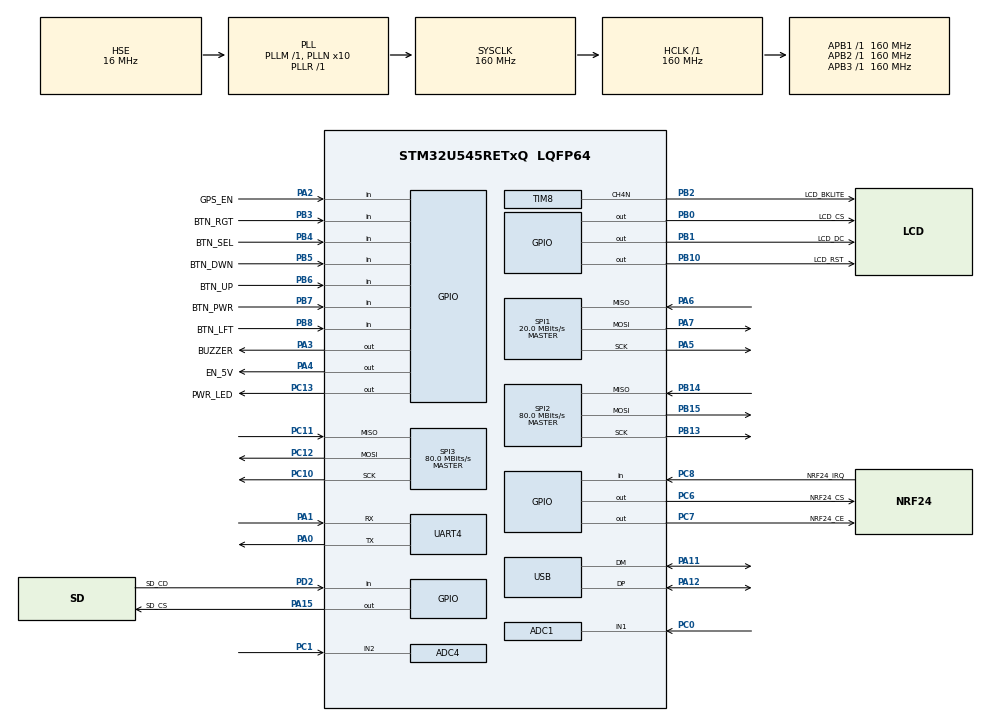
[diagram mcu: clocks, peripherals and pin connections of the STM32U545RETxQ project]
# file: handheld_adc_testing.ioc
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ADC1.Channel-6\#ChannelRegularConversion=ADC_CHANNEL_1
ADC1.ClockPrescaler=ADC_CLOCK_ASYNC_DIV4
ADC1.EnableAnalogWatchDog1=false
ADC1.MonitoredBy-6\#ChannelRegularConversion=__NULL
ADC1.NbrOfConversionFlag=1
ADC1.OffsetNumber-6\#ChannelRegularConversion=ADC_OFFSET_NONE
ADC1.Rank-6\#ChannelRegularConversion=1
ADC1.SamplingTime-6\#ChannelRegularConversion=ADC_SAMPLETIME_20CYCLES
ADC1.TriggerFrequencyMode=ADC_TRIGGER_FREQ_HIGH
ADC1.master=1
ADC4.Channel-0\#ChannelRegularConversion=ADC_CHANNEL_2
ADC4.ClockPrescaler=ADC_CLOCK_ASYNC_DIV4
ADC4.NbrOfConversionFlag=1
ADC4.OffsetNumber-0\#ChannelRegularConversion=ADC_OFFSET_NONE
ADC4.Rank-0\#ChannelRegularConversion=1
ADC4.RankArg-0\#ChannelRegularConversion=ADC4_REGULAR_RANK_1
ADC4.SamplingTime-0\#ChannelRegularConversion=ADC4_SAMPLINGTIME_COMMON_1
ADC4.SelectedChannel=ADC_CHANNEL_2
CORTEX_M33_NS.userName=CORTEX_M33
GPDMA1.DATAHANDLING_GPDMACH0=NONE
GPDMA1.DESTBURSTLENGTH_GPDMACH0=1
GPDMA1.DESTDATAWIDTH_GPDMACH0=DMA_DEST_DATAWIDTH_HALFWORD
GPDMA1.DIRECTION_GPDMACH0=DMA_MEMORY_TO_PERIPH
GPDMA1.IPHANDLE_GPDMACH0-SIMPLEREQUEST_GPDMACH0=__NULL
GPDMA1.PRIORITY_GPDMACH0=DMA_LOW_PRIORITY_LOW_WEIGHT
GPDMA1.REQUEST_GPDMACH0=GPDMA1_REQUEST_SPI1_TX
GPDMA1.SRCBURSTLENGTH_GPDMACH0=1
GPDMA1.SRCDATAWIDTH_GPDMACH0=DMA_SRC_DATAWIDTH_HALFWORD
GPDMA1.SRCINC_GPDMACH0=DMA_SINC_INCREMENTED
GPDMA1.TRIGGERPOLARITY_GPDMACH0=DMA_TRIG_POLARITY_MASKED
Mcu.Family=STM32U5
Mcu.Name=STM32U545RETxQ
Mcu.Package=LQFP64
NVIC.ADC1_IRQn=true\:0\:0\:false\:false\:true\:true\:true\:true
NVIC.GPDMA1_Channel0_IRQn=true\:0\:0\:false\:false\:true\:false\:true\:true
NVIC.PriorityGroup=NVIC_PRIORITYGROUP_4
NVIC.SPI1_IRQn=true\:0\:0\:false\:false\:true\:false\:true\:true
NVIC.TIM6_IRQn=true\:0\:0\:false\:false\:true\:true\:true\:true
PA0.Mode=Asynchronous
PA0.Signal=UART4_TX
PA1.Mode=Asynchronous
PA1.Signal=UART4_RX
PA11.Mode=Host
PA11.Signal=USB_DM
PA12.Mode=Host
PA12.Signal=USB_DP
PA13\ (JTMS/SWDIO).Mode=Serial_Wire
PA13\ (JTMS/SWDIO).Signal=DEBUG_JTMS-SWDIO
PA14\ (JTCK/SWCLK).Mode=Serial_Wire
PA14\ (JTCK/SWCLK).Signal=DEBUG_JTCK-SWCLK
PA15\ (JTDI).GPIO_Label=SD_CS
PA15\ (JTDI).Signal=GPIO_Output
PA2.GPIO_Label=GPS_EN
PA2.Signal=GPIO_Input
PA3.GPIO_Label=BUZZER
PA3.Signal=GPIO_Output
PA4.GPIO_Label=EN_5V
PA4.Signal=GPIO_Output
PA5.Mode=Full_Duplex_Master
PA5.Signal=SPI1_SCK
PA6.Mode=Full_Duplex_Master
PA6.Signal=SPI1_MISO
PA7.Mode=Full_Duplex_Master
PA7.Signal=SPI1_MOSI
PB0.GPIO_Label=LCD_CS
PB0.Signal=GPIO_Output
PB1.GPIO_Label=LCD_DC
PB1.Signal=GPIO_Output
PB10.GPIO_Label=LCD_RST
PB10.Signal=GPIO_Output
PB13.Mode=Full_Duplex_Master
PB13.Signal=SPI2_SCK
PB14.Mode=Full_Duplex_Master
PB14.Signal=SPI2_MISO
PB15.Mode=Full_Duplex_Master
PB15.Signal=SPI2_MOSI
PB2.GPIO_Label=LCD_BKLITE
PB2.Mode=PWM Generation4 CH4N
PB2.Signal=TIM8_CH4N
PB3\ (JTDO/TRACESWO).GPIO_Label=BTN_RGT
PB3\ (JTDO/TRACESWO).Signal=GPIO_Input
PB4\ (NJTRST).GPIO_Label=BTN_SEL
PB4\ (NJTRST).Signal=GPIO_Input
PB5.GPIO_Label=BTN_DWN
PB5.Signal=GPIO_Input
PB6.GPIO_Label=BTN_UP
PB6.Signal=GPIO_Input
PB7.GPIO_Label=BTN_PWR
PB7.Signal=GPIO_Input
PB8.GPIO_Label=BTN_LFT
PB8.Signal=GPIO_Input
PC0.Mode=IN1-Single-Ended
PC0.Signal=ADC1_IN1
PC1.Mode=IN2
PC1.Signal=ADC4_IN2
PC10.Mode=Full_Duplex_Master
PC10.Signal=SPI3_SCK
PC11.Mode=Full_Duplex_Master
PC11.Signal=SPI3_MISO
PC12.Mode=Full_Duplex_Master
PC12.Signal=SPI3_MOSI
PC13.GPIO_Label=PWR_LED
PC13.Signal=GPIO_Output
PC6.GPIO_Label=NRF24_CS
PC6.Signal=GPIO_Output
PC7.GPIO_Label=NRF24_CE
PC7.Signal=GPIO_Output
PC8.GPIO_Label=NRF24_IRQ
PC8.Signal=GPIO_Input
PD2.GPIO_Label=SD_CD
PD2.Signal=GPIO_Input
PH0-OSC_IN\ (PH0).Mode=HSE-External-Oscillator
PH0-OSC_IN\ (PH0).Signal=RCC_OSC_IN
PH1-OSC_OUT\ (PH1).Mode=HSE-External-Oscillator
PH1-OSC_OUT\ (PH1).Signal=RCC_OSC_OUT
ProjectManager.HeapSize=0x200
ProjectManager.StackSize=0x400
ProjectManager.TargetToolchain=STM32CubeIDE
RCC.ADCCLockSelection=RCC_ADCDACCLKSOURCE_SYSCLK
RCC.ADCFreq_Value=160000000
RCC.AHBFreq_Value=160000000
RCC.APB1Freq_Value=160000000
RCC.APB1TimFreq_Value=160000000
RCC.APB2Freq_Value=160000000
RCC.APB2TimFreq_Value=160000000
RCC.APB3Freq_Value=160000000
RCC.CK48CLockSelection=RCC_CLK48CLKSOURCE_PLL2
RCC.CortexFreq_Value=160000000
RCC.DACCLockSelectionVirtual=RCC_DAC1CLKSOURCE_LSI
RCC.DACCLockSelectionVirtualString=RCC_DAC1CLKSOURCE_LSI
RCC.EPOD_VALUE=16000000
RCC.HCLKFreq_Value=160000000
RCC.HSE_VALUE=16000000
RCC.HSI48_VALUE=48000000
RCC.HSI_VALUE=16000000
RCC.LSE_VALUE=32768
RCC.LSIDIV_VALUE=32000
RCC.MSI_VALUE=4000000
RCC.PLL1Q=4
RCC.PLL1R=1
RCC.PLL2N=12
RCC.PLL2Q=4
RCC.PLL2Source=RCC_PLLSOURCE_HSE
RCC.PLLN=10
RCC.PLLSourceVirtual=RCC_PLLSOURCE_HSE
RCC.SYSCLKFreq_VALUE=160000000
RCC.SYSCLKSource=RCC_SYSCLKSOURCE_PLLCLK
RCC.USBFreq_Value=48000000
RCC.VCOOutputFreq_Value=160000000
SPI1.BaudRatePrescaler=SPI_BAUDRATEPRESCALER_8
SPI1.CalculateBaudRate=20.0 MBits/s
SPI1.DataSize=SPI_DATASIZE_8BIT
SPI1.Direction=SPI_DIRECTION_2LINES
SPI1.Mode=SPI_MODE_MASTER
SPI1.VirtualType=VM_MASTER
SPI2.BaudRatePrescaler=SPI_BAUDRATEPRESCALER_2
SPI2.CalculateBaudRate=80.0 MBits/s
SPI2.Direction=SPI_DIRECTION_2LINES
SPI2.Mode=SPI_MODE_MASTER
SPI2.VirtualType=VM_MASTER
SPI3.BaudRatePrescaler=SPI_BAUDRATEPRESCALER_2
SPI3.CalculateBaudRate=80.0 MBits/s
SPI3.Direction=SPI_DIRECTION_2LINES
SPI3.Mode=SPI_MODE_MASTER
SPI3.VirtualType=VM_MASTER
STMicroelectronics.X-CUBE-TOUCHGFX.4.23.2.ApplicationCcGraphicsJjApplication=TouchGFXOoGenerator
STMicroelectronics.X-CUBE-TOUCHGFX.4.23.2.tgfx_address1=0x20000000
STMicroelectronics.X-CUBE-TOUCHGFX.4.23.2.tgfx_custom_height=240
STMicroelectronics.X-CUBE-TOUCHGFX.4.23.2.tgfx_custom_width=320
STMicroelectronics.X-CUBE-TOUCHGFX.4.23.2.tgfx_location=Allocate
STMicroelectronics.X-CUBE-TOUCHGFX.4.23.2_IsPackSelfContextualization=true
TIM6.AutoReloadPreload=TIM_AUTORELOAD_PRELOAD_DISABLE
TIM6.PeriodNoDither=333
TIM6.Prescaler=16000
TIM6.TIM_MasterOutputTrigger=TIM_TRGO_RESET
TIM8.AutoReloadPreload=TIM_AUTORELOAD_PRELOAD_ENABLE
TIM8.Channel-PWM\ Generation4\ CH4N=TIM_CHANNEL_4
TIM8.OCNIdleState_4=TIM_OCNIDLESTATE_RESET
TIM8.PeriodNoDither=1600
TIM8.PulseNoDither_4=800
VP_CRC_VS_CRC.Mode=CRC_Activate
VP_GPDMA1_VS_GPDMACH0.Mode=SIMPLEREQUEST_GPDMACH0
VP_LPBAMQUEUE_VS_QUEUE.Mode=QUEUEMODE
VP_LPBAM_VS_SIG1.Mode=SmartRun
VP_LPBAM_VS_SIG4.Mode=LPDMA1
VP_MEMORYMAP_VS_MEMORYMAP.Mode=CurAppReg
VP_PWR_VS_SECSignals.Mode=Security/Privilege
VP_PWR_Vdda.Mode=isolationVdda
VP_STMicroelectronics.X-CUBE-TOUCHGFX_VS_GraphicsJjApplication_4.23.2.Mode=GraphicsJjApplication
VP_TIM6_VS_ClockSourceINT.Mode=Enable_Timer
board=custom

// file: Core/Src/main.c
/* USER CODE BEGIN Header */
/**
  ******************************************************************************
  * @file           : main.c
  * @brief          : Main program body
  ******************************************************************************
  * @attention
  *
  * Copyright (c) 2024 STMicroelectronics.
  * All rights reserved.
  *
  * This software is licensed under terms that can be found in the LICENSE file
  * in the root directory of this software component.
  * If no LICENSE file comes with this software, it is provided AS-IS.
  *
  ******************************************************************************
  */
/* USER CODE END Header */
#include "main.h"
#include "app_touchgfx.h"

/* USER CODE BEGIN Includes */
#include <stdbool.h>
#include "ili9341.h"
#include "methane_detector.h"
/* USER CODE END Includes */

ADC_HandleTypeDef hadc1;
ADC_HandleTypeDef hadc4;

CRC_HandleTypeDef hcrc;

SPI_HandleTypeDef hspi1;
SPI_HandleTypeDef hspi2;
SPI_HandleTypeDef hspi3;
DMA_HandleTypeDef handle_GPDMA1_Channel0;

TIM_HandleTypeDef htim6;
TIM_HandleTypeDef htim8;

UART_HandleTypeDef huart4;

HCD_HandleTypeDef hhcd_USB_DRD_FS;

void SystemClock_Config(void);
static void MX_GPIO_Init(void);
static void MX_GPDMA1_Init(void);
static void MX_SPI2_Init(void);
static void MX_SPI3_Init(void);
static void MX_USB_DRD_FS_HCD_Init(void);
static void MX_ADC1_Init(void);
static void MX_ADC4_Init(void);
static void MX_TIM8_Init(void);
static void MX_SPI1_Init(void);
static void MX_CRC_Init(void);
static void MX_UART4_Init(void);
static void MX_TIM6_Init(void);

/* USER CODE BEGIN 0 */

// globals from methane_detetor.h
uint16_t adcValue = 0;
double convertedVoltage = 0;
uint16_t methaneLevel = 0;
volatile uint8_t newADCValueReady = 0;

void HAL_SPI_TxCpltCallback(SPI_HandleTypeDef *hspi) {
	// LCD DMA transfer and SPI transmission complete, see if there are more bytes to send and start another DMA transfer if so
	if (hspi == &hspi1) {
		// Code for transmitting framebuffer with entire display width
		if (width == 320) {
			if (framebufferTooBig) {
				framebufferLocation += UINT16_MAX + 1;	//Must include +1 to align framebuffer pointer with halfword!

				if (bytesLeft > UINT16_MAX/2) {
					HAL_SPI_Transmit_DMA(&hspi1, (uint8_t*)framebufferLocation, UINT16_MAX/2);
					bytesLeft -= UINT16_MAX/2;
					framebufferTooBig = true;
				}
				else {
					HAL_SPI_Transmit_DMA(&hspi1, (uint8_t*)framebufferLocation, bytesLeft);
					bytesLeft = 0;
					framebufferTooBig = false;
				}
			}
			else {
				isTransmitting = false;
				hspi1.Init.DataSize = SPI_DATASIZE_8BIT;
				HAL_SPI_Init(&hspi1);
			}
		}
		// Code for transmitting rectangular portion of framebuffer (portion to transmit is not entire width of display)
		else {
			currentLine++;
			if (currentLine != height) {
				framebufferLocation += 320*2;	//Go to next line of framebuffer that needs to be written
				HAL_SPI_Transmit_DMA(&hspi1, (uint8_t*)framebufferLocation, width);
			}
			else {
				isTransmitting = false;
				hspi1.Init.DataSize = SPI_DATASIZE_8BIT;
				HAL_SPI_Init(&hspi1);
			}
		}
	}
}

/* USER CODE END 0 */

int main(void)
{

  /* MCU Configuration--------------------------------------------------------*/

  /* Reset of all peripherals, Initializes the Flash interface and the Systick. */
  HAL_Init();

  /* Configure the system clock */
  SystemClock_Config();

  /* Initialize all configured peripherals */
  MX_GPIO_Init();
  MX_GPDMA1_Init();
  MX_SPI2_Init();
  MX_SPI3_Init();
  MX_USB_DRD_FS_HCD_Init();
  MX_ADC1_Init();
  MX_ADC4_Init();
  MX_TIM8_Init();
  MX_SPI1_Init();
  MX_CRC_Init();
  MX_UART4_Init();
  MX_TIM6_Init();
  MX_TouchGFX_Init();
  /* USER CODE BEGIN 2 */
  HAL_GPIO_WritePin(PWR_LED_GPIO_Port, PWR_LED_Pin, GPIO_PIN_SET); //set LED pin high to show that program is working
  HAL_GPIO_WritePin(EN_5V_GPIO_Port, EN_5V_Pin, GPIO_PIN_SET);

  ILI9341_Init();		// Run initialization function for LCD display
  ILI9341_SetDisplayBrightness(&htim8,100);	//set backlight brightness to 100%

  HAL_TIMEx_PWMN_Start(&htim8, TIM_CHANNEL_4);		// Enable complementary PWM on channel 4 of timer 8 (backlight brightness control)
  HAL_TIM_Base_Start_IT(&htim6);					// Start TIM6 to generate an interrupt every 1 second for calling TouchGFX vsync function. See stm32u5xx_it.c for call to vsync function

  uint8_t avgInProgress = 0;

  // Let TouchGFX start running before processing anything
  uint8_t preRunCount = 0;
  while(preRunCount < 10) {
	  MX_TouchGFX_Process();
	  preRunCount++;
  }
  /* USER CODE END 2 */

  /* Infinite loop */
  /* USER CODE BEGIN WHILE */
  while (1)
  {
	  if (!newADCValueReady) {
		  if (!avgInProgress) {
			  startNPointAverageADCRead(128);
			  avgInProgress = 1;
		  }
		  else {
			  if (pollForNPointAverageADCRead()) {
				  avgInProgress = 0;
				  adcValue = getNPointAverageADCValue();
				  convertedVoltage = 3.3 * ((double)adcValue / 16383.0);
				  methaneLevel = convertADCToMethane(adcValue);

				  newADCValueReady = 1;
			  }
		  }
	  }
    /* USER CODE END WHILE */

  MX_TouchGFX_Process();
  }
}

void SystemClock_Config(void)
{
  RCC_OscInitTypeDef RCC_OscInitStruct = {0};
  RCC_ClkInitTypeDef RCC_ClkInitStruct = {0};

  /** Configure the main internal regulator output voltage
  */
  if (HAL_PWREx_ControlVoltageScaling(PWR_REGULATOR_VOLTAGE_SCALE1) != HAL_OK)
  {
    Error_Handler();
  }

  /** Initializes the CPU, AHB and APB buses clocks
  */
  RCC_OscInitStruct.OscillatorType = RCC_OSCILLATORTYPE_HSE;
  RCC_OscInitStruct.HSEState = RCC_HSE_ON;
  RCC_OscInitStruct.PLL.PLLState = RCC_PLL_ON;
  RCC_OscInitStruct.PLL.PLLSource = RCC_PLLSOURCE_HSE;
  RCC_OscInitStruct.PLL.PLLMBOOST = RCC_PLLMBOOST_DIV1;
  RCC_OscInitStruct.PLL.PLLM = 1;
  RCC_OscInitStruct.PLL.PLLN = 10;
  RCC_OscInitStruct.PLL.PLLP = 2;
  RCC_OscInitStruct.PLL.PLLQ = 4;
  RCC_OscInitStruct.PLL.PLLR = 1;
  RCC_OscInitStruct.PLL.PLLRGE = RCC_PLLVCIRANGE_1;
  RCC_OscInitStruct.PLL.PLLFRACN = 0;
  if (HAL_RCC_OscConfig(&RCC_OscInitStruct) != HAL_OK)
  {
    Error_Handler();
  }

  /** Initializes the CPU, AHB and APB buses clocks
  */
  RCC_ClkInitStruct.ClockType = RCC_CLOCKTYPE_HCLK|RCC_CLOCKTYPE_SYSCLK
                              |RCC_CLOCKTYPE_PCLK1|RCC_CLOCKTYPE_PCLK2
                              |RCC_CLOCKTYPE_PCLK3;
  RCC_ClkInitStruct.SYSCLKSource = RCC_SYSCLKSOURCE_PLLCLK;
  RCC_ClkInitStruct.AHBCLKDivider = RCC_SYSCLK_DIV1;
  RCC_ClkInitStruct.APB1CLKDivider = RCC_HCLK_DIV1;
  RCC_ClkInitStruct.APB2CLKDivider = RCC_HCLK_DIV1;
  RCC_ClkInitStruct.APB3CLKDivider = RCC_HCLK_DIV1;

  if (HAL_RCC_ClockConfig(&RCC_ClkInitStruct, FLASH_LATENCY_4) != HAL_OK)
  {
    Error_Handler();
  }
}

static void MX_ADC1_Init(void)
{

  ADC_ChannelConfTypeDef sConfig = {0};

  /** Common config
  */
  hadc1.Instance = ADC1;
  hadc1.Init.ClockPrescaler = ADC_CLOCK_ASYNC_DIV4;
  hadc1.Init.Resolution = ADC_RESOLUTION_14B;
  hadc1.Init.GainCompensation = 0;
  hadc1.Init.DataAlign = ADC_DATAALIGN_RIGHT;
  hadc1.Init.ScanConvMode = ADC_SCAN_DISABLE;
  hadc1.Init.EOCSelection = ADC_EOC_SINGLE_CONV;
  hadc1.Init.LowPowerAutoWait = DISABLE;
  hadc1.Init.ContinuousConvMode = DISABLE;
  hadc1.Init.NbrOfConversion = 1;
  hadc1.Init.DiscontinuousConvMode = DISABLE;
  hadc1.Init.ExternalTrigConv = ADC_SOFTWARE_START;
  hadc1.Init.ExternalTrigConvEdge = ADC_EXTERNALTRIGCONVEDGE_NONE;
  hadc1.Init.DMAContinuousRequests = DISABLE;
  hadc1.Init.TriggerFrequencyMode = ADC_TRIGGER_FREQ_HIGH;
  hadc1.Init.Overrun = ADC_OVR_DATA_PRESERVED;
  hadc1.Init.LeftBitShift = ADC_LEFTBITSHIFT_NONE;
  hadc1.Init.ConversionDataManagement = ADC_CONVERSIONDATA_DR;
  hadc1.Init.OversamplingMode = DISABLE;
  if (HAL_ADC_Init(&hadc1) != HAL_OK)
  {
    Error_Handler();
  }

  /** Configure Regular Channel
  */
  sConfig.Channel = ADC_CHANNEL_1;
  sConfig.Rank = ADC_REGULAR_RANK_1;
  sConfig.SamplingTime = ADC_SAMPLETIME_20CYCLES;
  sConfig.SingleDiff = ADC_SINGLE_ENDED;
  sConfig.OffsetNumber = ADC_OFFSET_NONE;
  sConfig.Offset = 0;
  if (HAL_ADC_ConfigChannel(&hadc1, &sConfig) != HAL_OK)
  {
    Error_Handler();
  }

}

static void MX_ADC4_Init(void)
{

  ADC_ChannelConfTypeDef sConfig = {0};

  /** Common config
  */
  hadc4.Instance = ADC4;
  hadc4.Init.ClockPrescaler = ADC_CLOCK_ASYNC_DIV4;
  hadc4.Init.Resolution = ADC_RESOLUTION_12B;
  hadc4.Init.DataAlign = ADC_DATAALIGN_RIGHT;
  hadc4.Init.ScanConvMode = ADC4_SCAN_DISABLE;
  hadc4.Init.EOCSelection = ADC_EOC_SINGLE_CONV;
  hadc4.Init.LowPowerAutoPowerOff = ADC_LOW_POWER_NONE;
  hadc4.Init.LowPowerAutoWait = DISABLE;
  hadc4.Init.ContinuousConvMode = DISABLE;
  hadc4.Init.NbrOfConversion = 1;
  hadc4.Init.DiscontinuousConvMode = DISABLE;
  hadc4.Init.ExternalTrigConv = ADC_SOFTWARE_START;
  hadc4.Init.ExternalTrigConvEdge = ADC_EXTERNALTRIGCONVEDGE_NONE;
  hadc4.Init.DMAContinuousRequests = DISABLE;
  hadc4.Init.TriggerFrequencyMode = ADC_TRIGGER_FREQ_LOW;
  hadc4.Init.Overrun = ADC_OVR_DATA_PRESERVED;
  hadc4.Init.SamplingTimeCommon1 = ADC4_SAMPLETIME_1CYCLE_5;
  hadc4.Init.SamplingTimeCommon2 = ADC4_SAMPLETIME_1CYCLE_5;
  hadc4.Init.OversamplingMode = DISABLE;
  if (HAL_ADC_Init(&hadc4) != HAL_OK)
  {
    Error_Handler();
  }

  /** Configure Regular Channel
  */
  sConfig.Channel = ADC_CHANNEL_2;
  sConfig.Rank = ADC4_REGULAR_RANK_1;
  sConfig.SamplingTime = ADC4_SAMPLINGTIME_COMMON_1;
  sConfig.OffsetNumber = ADC_OFFSET_NONE;
  sConfig.Offset = 0;
  if (HAL_ADC_ConfigChannel(&hadc4, &sConfig) != HAL_OK)
  {
    Error_Handler();
  }

}

static void MX_CRC_Init(void)
{

  hcrc.Instance = CRC;
  hcrc.Init.DefaultPolynomialUse = DEFAULT_POLYNOMIAL_ENABLE;
  hcrc.Init.DefaultInitValueUse = DEFAULT_INIT_VALUE_ENABLE;
  hcrc.Init.InputDataInversionMode = CRC_INPUTDATA_INVERSION_NONE;
  hcrc.Init.OutputDataInversionMode = CRC_OUTPUTDATA_INVERSION_DISABLE;
  hcrc.InputDataFormat = CRC_INPUTDATA_FORMAT_BYTES;
  if (HAL_CRC_Init(&hcrc) != HAL_OK)
  {
    Error_Handler();
  }

}

static void MX_GPDMA1_Init(void)
{

  /* Peripheral clock enable */
  __HAL_RCC_GPDMA1_CLK_ENABLE();

  /* GPDMA1 interrupt Init */
    HAL_NVIC_SetPriority(GPDMA1_Channel0_IRQn, 0, 0);
    HAL_NVIC_EnableIRQ(GPDMA1_Channel0_IRQn);

}

static void MX_SPI1_Init(void)
{

  SPI_AutonomousModeConfTypeDef HAL_SPI_AutonomousMode_Cfg_Struct = {0};

  /* SPI1 parameter configuration*/
  hspi1.Instance = SPI1;
  hspi1.Init.Mode = SPI_MODE_MASTER;
  hspi1.Init.Direction = SPI_DIRECTION_2LINES;
  hspi1.Init.DataSize = SPI_DATASIZE_8BIT;
  hspi1.Init.CLKPolarity = SPI_POLARITY_LOW;
  hspi1.Init.CLKPhase = SPI_PHASE_1EDGE;
  hspi1.Init.NSS = SPI_NSS_SOFT;
  hspi1.Init.BaudRatePrescaler = SPI_BAUDRATEPRESCALER_8;
  hspi1.Init.FirstBit = SPI_FIRSTBIT_MSB;
  hspi1.Init.TIMode = SPI_TIMODE_DISABLE;
  hspi1.Init.CRCCalculation = SPI_CRCCALCULATION_DISABLE;
  hspi1.Init.CRCPolynomial = 0x7;
  hspi1.Init.NSSPMode = SPI_NSS_PULSE_ENABLE;
  hspi1.Init.NSSPolarity = SPI_NSS_POLARITY_LOW;
  hspi1.Init.FifoThreshold = SPI_FIFO_THRESHOLD_01DATA;
  hspi1.Init.MasterSSIdleness = SPI_MASTER_SS_IDLENESS_00CYCLE;
  hspi1.Init.MasterInterDataIdleness = SPI_MASTER_INTERDATA_IDLENESS_00CYCLE;
  hspi1.Init.MasterReceiverAutoSusp = SPI_MASTER_RX_AUTOSUSP_DISABLE;
  hspi1.Init.MasterKeepIOState = SPI_MASTER_KEEP_IO_STATE_DISABLE;
  hspi1.Init.IOSwap = SPI_IO_SWAP_DISABLE;
  hspi1.Init.ReadyMasterManagement = SPI_RDY_MASTER_MANAGEMENT_INTERNALLY;
  hspi1.Init.ReadyPolarity = SPI_RDY_POLARITY_HIGH;
  if (HAL_SPI_Init(&hspi1) != HAL_OK)
  {
    Error_Handler();
  }
  HAL_SPI_AutonomousMode_Cfg_Struct.TriggerState = SPI_AUTO_MODE_DISABLE;
  HAL_SPI_AutonomousMode_Cfg_Struct.TriggerSelection = SPI_GRP1_GPDMA_CH0_TCF_TRG;
  HAL_SPI_AutonomousMode_Cfg_Struct.TriggerPolarity = SPI_TRIG_POLARITY_RISING;
  if (HAL_SPIEx_SetConfigAutonomousMode(&hspi1, &HAL_SPI_AutonomousMode_Cfg_Struct) != HAL_OK)
  {
    Error_Handler();
  }

}

static void MX_SPI2_Init(void)
{

  SPI_AutonomousModeConfTypeDef HAL_SPI_AutonomousMode_Cfg_Struct = {0};

  /* SPI2 parameter configuration*/
  hspi2.Instance = SPI2;
  hspi2.Init.Mode = SPI_MODE_MASTER;
  hspi2.Init.Direction = SPI_DIRECTION_2LINES;
  hspi2.Init.DataSize = SPI_DATASIZE_4BIT;
  hspi2.Init.CLKPolarity = SPI_POLARITY_LOW;
  hspi2.Init.CLKPhase = SPI_PHASE_1EDGE;
  hspi2.Init.NSS = SPI_NSS_SOFT;
  hspi2.Init.BaudRatePrescaler = SPI_BAUDRATEPRESCALER_2;
  hspi2.Init.FirstBit = SPI_FIRSTBIT_MSB;
  hspi2.Init.TIMode = SPI_TIMODE_DISABLE;
  hspi2.Init.CRCCalculation = SPI_CRCCALCULATION_DISABLE;
  hspi2.Init.CRCPolynomial = 0x7;
  hspi2.Init.NSSPMode = SPI_NSS_PULSE_ENABLE;
  hspi2.Init.NSSPolarity = SPI_NSS_POLARITY_LOW;
  hspi2.Init.FifoThreshold = SPI_FIFO_THRESHOLD_01DATA;
  hspi2.Init.MasterSSIdleness = SPI_MASTER_SS_IDLENESS_00CYCLE;
  hspi2.Init.MasterInterDataIdleness = SPI_MASTER_INTERDATA_IDLENESS_00CYCLE;
  hspi2.Init.MasterReceiverAutoSusp = SPI_MASTER_RX_AUTOSUSP_DISABLE;
  hspi2.Init.MasterKeepIOState = SPI_MASTER_KEEP_IO_STATE_DISABLE;
  hspi2.Init.IOSwap = SPI_IO_SWAP_DISABLE;
  hspi2.Init.ReadyMasterManagement = SPI_RDY_MASTER_MANAGEMENT_INTERNALLY;
  hspi2.Init.ReadyPolarity = SPI_RDY_POLARITY_HIGH;
  if (HAL_SPI_Init(&hspi2) != HAL_OK)
  {
    Error_Handler();
  }
  HAL_SPI_AutonomousMode_Cfg_Struct.TriggerState = SPI_AUTO_MODE_DISABLE;
  HAL_SPI_AutonomousMode_Cfg_Struct.TriggerSelection = SPI_GRP1_GPDMA_CH0_TCF_TRG;
  HAL_SPI_AutonomousMode_Cfg_Struct.TriggerPolarity = SPI_TRIG_POLARITY_RISING;
  if (HAL_SPIEx_SetConfigAutonomousMode(&hspi2, &HAL_SPI_AutonomousMode_Cfg_Struct) != HAL_OK)
  {
    Error_Handler();
  }

}

static void MX_SPI3_Init(void)
{

  SPI_AutonomousModeConfTypeDef HAL_SPI_AutonomousMode_Cfg_Struct = {0};

  /* SPI3 parameter configuration*/
  hspi3.Instance = SPI3;
  hspi3.Init.Mode = SPI_MODE_MASTER;
  hspi3.Init.Direction = SPI_DIRECTION_2LINES;
  hspi3.Init.DataSize = SPI_DATASIZE_8BIT;
  hspi3.Init.CLKPolarity = SPI_POLARITY_LOW;
  hspi3.Init.CLKPhase = SPI_PHASE_1EDGE;
  hspi3.Init.NSS = SPI_NSS_SOFT;
  hspi3.Init.BaudRatePrescaler = SPI_BAUDRATEPRESCALER_2;
  hspi3.Init.FirstBit = SPI_FIRSTBIT_MSB;
  hspi3.Init.TIMode = SPI_TIMODE_DISABLE;
  hspi3.Init.CRCCalculation = SPI_CRCCALCULATION_DISABLE;
  hspi3.Init.CRCPolynomial = 0x7;
  hspi3.Init.NSSPMode = SPI_NSS_PULSE_ENABLE;
  hspi3.Init.NSSPolarity = SPI_NSS_POLARITY_LOW;
  hspi3.Init.FifoThreshold = SPI_FIFO_THRESHOLD_01DATA;
  hspi3.Init.MasterSSIdleness = SPI_MASTER_SS_IDLENESS_00CYCLE;
  hspi3.Init.MasterInterDataIdleness = SPI_MASTER_INTERDATA_IDLENESS_00CYCLE;
  hspi3.Init.MasterReceiverAutoSusp = SPI_MASTER_RX_AUTOSUSP_DISABLE;
  hspi3.Init.MasterKeepIOState = SPI_MASTER_KEEP_IO_STATE_DISABLE;
  hspi3.Init.IOSwap = SPI_IO_SWAP_DISABLE;
  hspi3.Init.ReadyMasterManagement = SPI_RDY_MASTER_MANAGEMENT_INTERNALLY;
  hspi3.Init.ReadyPolarity = SPI_RDY_POLARITY_HIGH;
  if (HAL_SPI_Init(&hspi3) != HAL_OK)
  {
    Error_Handler();
  }
  HAL_SPI_AutonomousMode_Cfg_Struct.TriggerState = SPI_AUTO_MODE_DISABLE;
  HAL_SPI_AutonomousMode_Cfg_Struct.TriggerSelection = SPI_GRP2_LPDMA_CH0_TCF_TRG;
  HAL_SPI_AutonomousMode_Cfg_Struct.TriggerPolarity = SPI_TRIG_POLARITY_RISING;
  if (HAL_SPIEx_SetConfigAutonomousMode(&hspi3, &HAL_SPI_AutonomousMode_Cfg_Struct) != HAL_OK)
  {
    Error_Handler();
  }

}

static void MX_TIM6_Init(void)
{

  TIM_MasterConfigTypeDef sMasterConfig = {0};

  htim6.Instance = TIM6;
  htim6.Init.Prescaler = 16000;
  htim6.Init.CounterMode = TIM_COUNTERMODE_UP;
  htim6.Init.Period = 333;
  htim6.Init.AutoReloadPreload = TIM_AUTORELOAD_PRELOAD_DISABLE;
  if (HAL_TIM_Base_Init(&htim6) != HAL_OK)
  {
    Error_Handler();
  }
  sMasterConfig.MasterOutputTrigger = TIM_TRGO_RESET;
  sMasterConfig.MasterSlaveMode = TIM_MASTERSLAVEMODE_DISABLE;
  if (HAL_TIMEx_MasterConfigSynchronization(&htim6, &sMasterConfig) != HAL_OK)
  {
    Error_Handler();
  }

}

static void MX_TIM8_Init(void)
{

  TIM_MasterConfigTypeDef sMasterConfig = {0};
  TIM_OC_InitTypeDef sConfigOC = {0};
  TIM_BreakDeadTimeConfigTypeDef sBreakDeadTimeConfig = {0};

  htim8.Instance = TIM8;
  htim8.Init.Prescaler = 0;
  htim8.Init.CounterMode = TIM_COUNTERMODE_UP;
  htim8.Init.Period = 1600;
  htim8.Init.ClockDivision = TIM_CLOCKDIVISION_DIV1;
  htim8.Init.RepetitionCounter = 0;
  htim8.Init.AutoReloadPreload = TIM_AUTORELOAD_PRELOAD_ENABLE;
  if (HAL_TIM_PWM_Init(&htim8) != HAL_OK)
  {
    Error_Handler();
  }
  sMasterConfig.MasterOutputTrigger = TIM_TRGO_RESET;
  sMasterConfig.MasterOutputTrigger2 = TIM_TRGO2_RESET;
  sMasterConfig.MasterSlaveMode = TIM_MASTERSLAVEMODE_DISABLE;
  if (HAL_TIMEx_MasterConfigSynchronization(&htim8, &sMasterConfig) != HAL_OK)
  {
    Error_Handler();
  }
  sConfigOC.OCMode = TIM_OCMODE_PWM1;
  sConfigOC.Pulse = 800;
  sConfigOC.OCPolarity = TIM_OCPOLARITY_HIGH;
  sConfigOC.OCNPolarity = TIM_OCNPOLARITY_HIGH;
  sConfigOC.OCFastMode = TIM_OCFAST_DISABLE;
  sConfigOC.OCIdleState = TIM_OCIDLESTATE_RESET;
  sConfigOC.OCNIdleState = TIM_OCNIDLESTATE_RESET;
  if (HAL_TIM_PWM_ConfigChannel(&htim8, &sConfigOC, TIM_CHANNEL_4) != HAL_OK)
  {
    Error_Handler();
  }
  sBreakDeadTimeConfig.OffStateRunMode = TIM_OSSR_DISABLE;
  sBreakDeadTimeConfig.OffStateIDLEMode = TIM_OSSI_DISABLE;
  sBreakDeadTimeConfig.LockLevel = TIM_LOCKLEVEL_OFF;
  sBreakDeadTimeConfig.DeadTime = 0;
  sBreakDeadTimeConfig.BreakState = TIM_BREAK_DISABLE;
  sBreakDeadTimeConfig.BreakPolarity = TIM_BREAKPOLARITY_HIGH;
  sBreakDeadTimeConfig.BreakFilter = 0;
  sBreakDeadTimeConfig.BreakAFMode = TIM_BREAK_AFMODE_INPUT;
  sBreakDeadTimeConfig.Break2State = TIM_BREAK2_DISABLE;
  sBreakDeadTimeConfig.Break2Polarity = TIM_BREAK2POLARITY_HIGH;
  sBreakDeadTimeConfig.Break2Filter = 0;
  sBreakDeadTimeConfig.Break2AFMode = TIM_BREAK_AFMODE_INPUT;
  sBreakDeadTimeConfig.AutomaticOutput = TIM_AUTOMATICOUTPUT_DISABLE;
  if (HAL_TIMEx_ConfigBreakDeadTime(&htim8, &sBreakDeadTimeConfig) != HAL_OK)
  {
    Error_Handler();
  }
  HAL_TIM_MspPostInit(&htim8);

}

static void MX_UART4_Init(void)
{

  huart4.Instance = UART4;
  huart4.Init.BaudRate = 115200;
  huart4.Init.WordLength = UART_WORDLENGTH_8B;
  huart4.Init.StopBits = UART_STOPBITS_1;
  huart4.Init.Parity = UART_PARITY_NONE;
  huart4.Init.Mode = UART_MODE_TX_RX;
  huart4.Init.HwFlowCtl = UART_HWCONTROL_NONE;
  huart4.Init.OverSampling = UART_OVERSAMPLING_16;
  huart4.Init.OneBitSampling = UART_ONE_BIT_SAMPLE_DISABLE;
  huart4.Init.ClockPrescaler = UART_PRESCALER_DIV1;
  huart4.AdvancedInit.AdvFeatureInit = UART_ADVFEATURE_NO_INIT;
  if (HAL_UART_Init(&huart4) != HAL_OK)
  {
    Error_Handler();
  }
  if (HAL_UARTEx_SetTxFifoThreshold(&huart4, UART_TXFIFO_THRESHOLD_1_8) != HAL_OK)
  {
    Error_Handler();
  }
  if (HAL_UARTEx_SetRxFifoThreshold(&huart4, UART_RXFIFO_THRESHOLD_1_8) != HAL_OK)
  {
    Error_Handler();
  }
  if (HAL_UARTEx_DisableFifoMode(&huart4) != HAL_OK)
  {
    Error_Handler();
  }

}

static void MX_USB_DRD_FS_HCD_Init(void)
{

  hhcd_USB_DRD_FS.Instance = USB_DRD_FS;
  hhcd_USB_DRD_FS.Init.dev_endpoints = 8;
  hhcd_USB_DRD_FS.Init.Host_channels = 8;
  hhcd_USB_DRD_FS.Init.speed = HCD_SPEED_FULL;
  hhcd_USB_DRD_FS.Init.phy_itface = HCD_PHY_EMBEDDED;
  hhcd_USB_DRD_FS.Init.Sof_enable = DISABLE;
  hhcd_USB_DRD_FS.Init.low_power_enable = DISABLE;
  hhcd_USB_DRD_FS.Init.vbus_sensing_enable = DISABLE;
  hhcd_USB_DRD_FS.Init.bulk_doublebuffer_enable = DISABLE;
  hhcd_USB_DRD_FS.Init.iso_singlebuffer_enable = DISABLE;
  if (HAL_HCD_Init(&hhcd_USB_DRD_FS) != HAL_OK)
  {
    Error_Handler();
  }

}

static void MX_GPIO_Init(void)
{
  GPIO_InitTypeDef GPIO_InitStruct = {0};

  /* GPIO Ports Clock Enable */
  __HAL_RCC_GPIOC_CLK_ENABLE();
  __HAL_RCC_GPIOH_CLK_ENABLE();
  __HAL_RCC_GPIOA_CLK_ENABLE();
  __HAL_RCC_GPIOB_CLK_ENABLE();
  __HAL_RCC_GPIOD_CLK_ENABLE();

  /*Configure GPIO pin Output Level */
  HAL_GPIO_WritePin(GPIOC, PWR_LED_Pin|NRF24_CS_Pin|NRF24_CE_Pin, GPIO_PIN_RESET);

  /*Configure GPIO pin Output Level */
  HAL_GPIO_WritePin(GPIOA, BUZZER_Pin|EN_5V_Pin|SD_CS_Pin, GPIO_PIN_RESET);

  /*Configure GPIO pin Output Level */
  HAL_GPIO_WritePin(GPIOB, LCD_CS_Pin|LCD_DC_Pin|LCD_RST_Pin, GPIO_PIN_RESET);

  /*Configure GPIO pins : PWR_LED_Pin NRF24_CS_Pin NRF24_CE_Pin */
  GPIO_InitStruct.Pin = PWR_LED_Pin|NRF24_CS_Pin|NRF24_CE_Pin;
  GPIO_InitStruct.Mode = GPIO_MODE_OUTPUT_PP;
  GPIO_InitStruct.Pull = GPIO_NOPULL;
  GPIO_InitStruct.Speed = GPIO_SPEED_FREQ_LOW;
  HAL_GPIO_Init(GPIOC, &GPIO_InitStruct);

  /*Configure GPIO pin : GPS_EN_Pin */
  GPIO_InitStruct.Pin = GPS_EN_Pin;
  GPIO_InitStruct.Mode = GPIO_MODE_INPUT;
  GPIO_InitStruct.Pull = GPIO_NOPULL;
  HAL_GPIO_Init(GPS_EN_GPIO_Port, &GPIO_InitStruct);

  /*Configure GPIO pins : BUZZER_Pin EN_5V_Pin SD_CS_Pin */
  GPIO_InitStruct.Pin = BUZZER_Pin|EN_5V_Pin|SD_CS_Pin;
  GPIO_InitStruct.Mode = GPIO_MODE_OUTPUT_PP;
  GPIO_InitStruct.Pull = GPIO_NOPULL;
  GPIO_InitStruct.Speed = GPIO_SPEED_FREQ_LOW;
  HAL_GPIO_Init(GPIOA, &GPIO_InitStruct);

  /*Configure GPIO pins : LCD_CS_Pin LCD_DC_Pin LCD_RST_Pin */
  GPIO_InitStruct.Pin = LCD_CS_Pin|LCD_DC_Pin|LCD_RST_Pin;
  GPIO_InitStruct.Mode = GPIO_MODE_OUTPUT_PP;
  GPIO_InitStruct.Pull = GPIO_NOPULL;
  GPIO_InitStruct.Speed = GPIO_SPEED_FREQ_LOW;
  HAL_GPIO_Init(GPIOB, &GPIO_InitStruct);

  /*Configure GPIO pin : NRF24_IRQ_Pin */
  GPIO_InitStruct.Pin = NRF24_IRQ_Pin;
  GPIO_InitStruct.Mode = GPIO_MODE_INPUT;
  GPIO_InitStruct.Pull = GPIO_NOPULL;
  HAL_GPIO_Init(NRF24_IRQ_GPIO_Port, &GPIO_InitStruct);

  /*Configure GPIO pin : SD_CD_Pin */
  GPIO_InitStruct.Pin = SD_CD_Pin;
  GPIO_InitStruct.Mode = GPIO_MODE_INPUT;
  GPIO_InitStruct.Pull = GPIO_NOPULL;
  HAL_GPIO_Init(SD_CD_GPIO_Port, &GPIO_InitStruct);

  /*Configure GPIO pins : BTN_RGT_Pin BTN_SEL_Pin BTN_DWN_Pin BTN_UP_Pin
                           BTN_PWR_Pin BTN_LFT_Pin */
  GPIO_InitStruct.Pin = BTN_RGT_Pin|BTN_SEL_Pin|BTN_DWN_Pin|BTN_UP_Pin
                          |BTN_PWR_Pin|BTN_LFT_Pin;
  GPIO_InitStruct.Mode = GPIO_MODE_INPUT;
  GPIO_InitStruct.Pull = GPIO_NOPULL;
  HAL_GPIO_Init(GPIOB, &GPIO_InitStruct);

}

void Error_Handler(void)
{
  __disable_irq();
  while (1)
  {
  }
}
